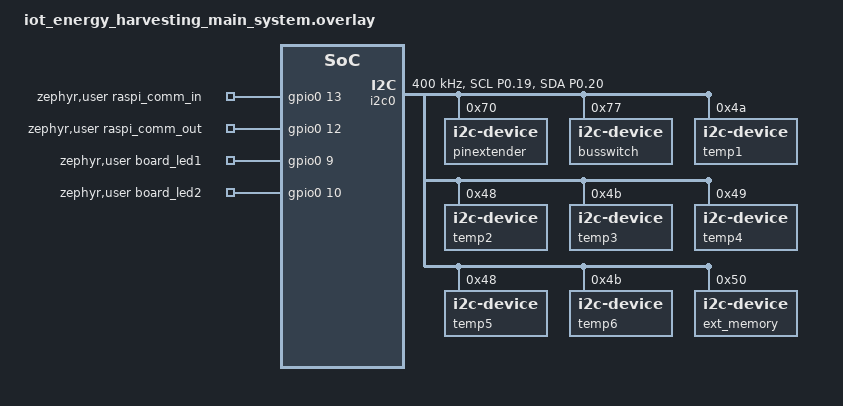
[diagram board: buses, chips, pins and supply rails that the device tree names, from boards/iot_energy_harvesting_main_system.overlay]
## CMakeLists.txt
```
cmake_minimum_required(VERSION 3.20.0)
find_package(Zephyr REQUIRED HINTS $ENV{ZEPHYR_BASE})

project(SoC)

target_sources(app PRIVATE src/main.c)

target_sources(app PRIVATE src/GPIO_extender.c)
target_sources(app PRIVATE src/I2C_Switch.c)
target_sources(app PRIVATE src/TempSensor.c)
target_sources(app PRIVATE src/accuracyAlgorithms.c)
target_sources(app PRIVATE src/memory.c)
target_sources(app PRIVATE src/timers.c)

target_include_directories(app PRIVATE src)
```

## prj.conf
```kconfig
# enable GPIO
CONFIG_GPIO=y
CONFIG_GPIO_NRFX=y

# enable I2C
CONFIG_I2C=y

# enable pin control (e.g., for I2C)
CONFIG_PINCTRL=y

# enable UART
CONFIG_SERIAL=y
CONFIG_UART_ASYNC_API=y

# RTT Console
CONFIG_RTT_CONSOLE=y
CONFIG_USE_SEGGER_RTT=y
CONFIG_PRINTK=y
CONFIG_CONSOLE=y
CONFIG_STDOUT_CONSOLE=y

CONFIG_CBPRINTF_FP_SUPPORT=y
```

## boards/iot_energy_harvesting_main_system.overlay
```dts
// To get started, press Ctrl+Space to bring up the completion menu and view the available nodes.

// You can also use the buttons in the sidebar to perform actions on nodes.
// Actions currently available include:

// * Enabling / disabling the node
// * Adding the bus to a bus
// * Removing the node
// * Connecting ADC channels

// For more help, browse the DeviceTree documentation at https://docs.zephyrproject.org/latest/guides/dts/index.html
// You can also visit the nRF DeviceTree extension documentation at https://nrfconnect.github.io/vscode-nrf-connect/devicetree/nrfdevicetree.html


&i2c0 {    
    pinextender: pinextender@70{
        compatible = "i2c-device";
        reg = < 0x70 >;
        pinextenderReset: pinextenderReset{
            compatible = "nordic,gpio-pins";
            gpios = <&gpio0  17 GPIO_ACTIVE_LOW>;
        };
        pinextender_int_pin: pinextender-int-pin{
            compatible = "nordic,gpio-pins";
            gpios = <&gpio0 18 GPIO_ACTIVE_LOW>;
        };
    };
    
    busswitch: busswitch@77{
        compatible = "i2c-device";
        reg = < 0x77 >;
        busswitchreset: busswitchreset{
            compatible = "nordic,gpio-pins";
            gpios = <&gpio0  16 GPIO_ACTIVE_LOW>;
        };
    };
    
    temp1: temp1@4a{
        compatible = "i2c-device";
        reg = < 0x4a >;
    };
    
    temp2: temp2@48{
        compatible = "i2c-device";
        reg = < 0x48 >;
    };
    
    temp3: temp3@4b{
        compatible = "i2c-device";
        reg = < 0x4b >;
    };
    
    temp4: temp4@49{
        compatible = "i2c-device";
        reg = < 0x49 >;
    };
    
    temp5: temp5@48{
        compatible = "i2c-device";
        reg = < 0x48 >;
    };
    
    temp6: temp6@4b{
        compatible = "i2c-device";
        reg = < 0x4b >;
    };
    
    ext_memory: ext_memory@50{
        compatible = "i2c-device";
        reg = <0x50>;
    };

    status = "okay";
    clock-frequency = <I2C_BITRATE_FAST>;
    easydma-maxcnt-bits = <128>;
};



&gpio0 {
    compatible = "nordic,nrf-gpio";
    status = "okay";
};



&i2c0 {
    pinctrl-0 = <&i2c0_default>;
    pinctrl-names = "default";
};

&pinctrl {
    i2c0_default: i2c0_default {
        group1 {
            psels = <NRF_PSEL(TWIM_SCL, 0, 19)>, <NRF_PSEL(TWIM_SDA, 0, 20)>;
        };
    };

    uart0_default: uart0_default {
        group1 {
            psels = <NRF_PSEL(UART_RX, 0, 13)>, <NRF_PSEL(UART_TX, 0, 12)>;
        };
    };
};



&gpiote {
    status = "okay";
};

&uart0 {
    status = "disabled";
    pinctrl-0 = <&uart0_default>;
    pinctrl-names = "default";
    current-speed = <9600>;
};


/ {
    zephyr,user {
        raspi_comm_in-gpios =   <&gpio0 13 0>;
        raspi_comm_out-gpios =  <&gpio0 12 0>;
        board_led1-gpios = <&gpio0 9 GPIO_ACTIVE_HIGH>;
        board_led2-gpios = <&gpio0 10 GPIO_ACTIVE_HIGH>;
    };

};
```

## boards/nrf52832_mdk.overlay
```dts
// To get started, press Ctrl+Space to bring up the completion menu and view the available nodes.

// You can also use the buttons in the sidebar to perform actions on nodes.
// Actions currently available include:

// * Enabling / disabling the node
// * Adding the bus to a bus
// * Removing the node
// * Connecting ADC channels

// For more help, browse the DeviceTree documentation at https://docs.zephyrproject.org/latest/guides/dts/index.html
// You can also visit the nRF DeviceTree extension documentation at https://nrfconnect.github.io/vscode-nrf-connect/devicetree/nrfdevicetree.html

&i2c0 {    
    pinextender: pinextender@70{
        compatible = "i2c-device";
        status = "okay";
        reg = < 0x70 >;
        pinextenderReset: pinextenderReset{
            compatible = "nordic,gpio-pins";
            gpios = <&gpio0  17 GPIO_ACTIVE_LOW>;
            status = "okay"; 
        };
        pinextender_int_pin: pinextender-int-pin{
            compatible = "nordic,gpio-pins";
            gpios = <&gpio0 18 GPIO_ACTIVE_LOW>;
            status = "okay";
        };
    };
    
    busswitch: busswitch@77{
        compatible = "i2c-device";
        status = "okay";
        reg = < 0x77 >;
        busswitchreset: busswitchreset{
            compatible = "nordic,gpio-pins";
            gpios = <&gpio0  16 GPIO_ACTIVE_LOW>;
            status = "okay"; 
        };
    };
    
    temp1: temp1@4a{
        compatible = "i2c-device";
        reg = < 0x4a >;
        status = "okay";
    };
    
    temp2: temp2@48{
        compatible = "i2c-device";
        reg = < 0x48 >;
        status = "okay";
    };
    
    temp3: temp3@4b{
        compatible = "i2c-device";
        reg = < 0x4b >;
        status = "okay";
    };
    
    temp4: temp4@49{
        compatible = "i2c-device";
        reg = < 0x49 >;
        status = "okay";
    };
    
    temp5: temp5@48{
        compatible = "i2c-device";
        reg = < 0x48 >;
        status = "okay";
    };
    
    temp6: temp6@4b{
        compatible = "i2c-device";
        reg = < 0x4b >;
        status = "okay";
    };
    
    ext_memory: ext_memory@50{
        compatible = "i2c-device";
        reg = < 0x50 >;
        status = "okay";
    };

    status = "okay";
    clock-frequency = <I2C_BITRATE_FAST>;
    easydma-maxcnt-bits = <128>;
};

&gpio0 {
    led1{
        compatible = "nordic,gpio-pins";
        gpios = <&gpio0 9 GPIO_ACTIVE_HIGH>;
        status = "okay";
    };
    led2{
        compatible = "nordic,gpio-pins";
        gpios = <&gpio0 10 GPIO_ACTIVE_HIGH>;
        status = "okay";
    };
};


&i2c1 {
    status = "disabled";
    clock-frequency = <I2C_BITRATE_FAST>;
};



&spi1 {
    status = "disabled";
};



&pwm0 {
    status = "disabled";
};

&adc {
    status = "disabled";
};

&i2c0_default {
    group1 {
        psels = <NRF_PSEL(TWIM_SDA, 0, 20)>, <NRF_PSEL(TWIM_SCL, 0, 19)>;
    };
};

&timer0 {
    status = "disabled";
};

&uart0 {
    current-speed = <9600>;
};

&uart0_default {
    group1 {
        psels = <NRF_PSEL(UART_TX, 0, 12)>,
                <NRF_PSEL(UART_RX, 0, 13)>,
                <NRF_PSEL(UART_RTS, 0, 5)>,
                <NRF_PSEL(UART_CTS, 0, 7)>;
    };
};

&uart0_default {
    group1 {
        psels = <NRF_PSEL(UART_TX, 0, 13)>,
                <NRF_PSEL(UART_RX, 0, 13)>,
                <NRF_PSEL(UART_RTS, 0, 5)>,
                <NRF_PSEL(UART_CTS, 0, 7)>;
    };
};

&uart0_default {
    group1 {
        psels = <NRF_PSEL(UART_TX, 0, 13)>,
                <NRF_PSEL(UART_RX, 0, 12)>,
                <NRF_PSEL(UART_RTS, 0, 5)>,
                <NRF_PSEL(UART_CTS, 0, 7)>;
    };
};
```

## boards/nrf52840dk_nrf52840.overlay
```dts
// To get started, press Ctrl+Space to bring up the completion menu and view the available nodes.

// You can also use the buttons in the sidebar to perform actions on nodes.
// Actions currently available include:

// * Enabling / disabling the node
// * Adding the bus to a bus
// * Removing the node
// * Connecting ADC channels

// For more help, browse the DeviceTree documentation at https://docs.zephyrproject.org/latest/guides/dts/index.html
// You can also visit the nRF DeviceTree extension documentation at https://nrfconnect.github.io/vscode-nrf-connect/devicetree/nrfdevicetree.html

&i2c0 {    
    pinextender: pinextender@70{
        compatible = "i2c-device";
        status = "okay";
        reg = < 0x70 >;
        pinextenderReset: pinextenderReset{
            compatible = "nordic,gpio-pins";
            gpios = <&gpio0  17 GPIO_ACTIVE_LOW>;
            status = "okay"; 
        };
        pinextender_int_pin: pinextender-int-pin{
            compatible = "nordic,gpio-pins";
            gpios = <&gpio0 18 GPIO_ACTIVE_LOW>;
            status = "okay";
        };
    };
    
    busswitch: busswitch@77{
        compatible = "i2c-device";
        status = "okay";
        reg = < 0x77 >;
        busswitchreset: busswitchreset{
            compatible = "nordic,gpio-pins";
            gpios = <&gpio0  16 GPIO_ACTIVE_LOW>;
            status = "okay"; 
        };
    };
    
    temp1: temp1@4a{
        compatible = "i2c-device";
        reg = < 0x4a >;
        status = "okay";
    };
    
    temp2: temp2@48{
        compatible = "i2c-device";
        reg = < 0x48 >;
        status = "okay";
    };
    
    temp3: temp3@4b{
        compatible = "i2c-device";
        reg = < 0x4b >;
        status = "okay";
    };
    
    temp4: temp4@49{
        compatible = "i2c-device";
        reg = < 0x49 >;
        status = "okay";
    };
    
    temp5: temp5@48{
        compatible = "i2c-device";
        reg = < 0x48 >;
        status = "okay";
    };
    
    temp6: temp6@4b{
        compatible = "i2c-device";
        reg = < 0x4b >;
        status = "okay";
    };
    
    ext_memory: ext_memory@50{
        compatible = "i2c-device";
        reg = < 0x50 >;
        status = "okay";
    };

    status = "okay";
    clock-frequency = <I2C_BITRATE_FAST>;
    easydma-maxcnt-bits = <128>;
};

&gpio0 {
    led1{
        compatible = "nordic,gpio-pins";
        gpios = <&gpio0 9 GPIO_ACTIVE_HIGH>;
        status = "okay";
    };
    led2{
        compatible = "nordic,gpio-pins";
        gpios = <&gpio0 10 GPIO_ACTIVE_HIGH>;
        status = "okay";
    };
};


&i2c1 {
    status = "disabled";
    clock-frequency = <I2C_BITRATE_FAST>;
};

&spi3 {
    status = "disabled";
};

&spi1 {
    status = "disabled";
};

&qspi {
    status = "disabled";
};

&pwm0 {
    status = "disabled";
};

&adc {
    status = "disabled";
};

&i2c0_default {
    group1 {
        psels = <NRF_PSEL(TWIM_SDA, 0, 20)>, <NRF_PSEL(TWIM_SCL, 0, 19)>;
    };
};

&timer0 {
    status = "disabled";
};
```

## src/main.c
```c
#include <zephyr/kernel.h>
#include <zephyr/device.h>
#include <zephyr/devicetree.h>
#include <zephyr/sys/printk.h>
#include <zephyr/drivers/i2c.h>
#include <zephyr/drivers/uart.h>
#include <zephyr/drivers/gpio.h>
#include <stdio.h>

#include "inc.h"

#define USERNODE DT_PATH(zephyr_user)

const struct gpio_dt_spec raspiCom_in = GPIO_DT_SPEC_GET(USERNODE, raspi_comm_in_gpios);
const struct gpio_dt_spec raspiCom_out = GPIO_DT_SPEC_GET(USERNODE, raspi_comm_out_gpios);

extern uint32_t write_address;

uint8_t gpio_portMask = 0x00;
uint8_t switch_portMask = 0x00;

static struct gpio_callback raspi_comm_cb;

static struct k_work test_start_work;
static struct k_work test_over_work;


void raspi_comm_interrupt_handler(const struct device *dev, struct gpio_callback *cb, uint32_t pins)
{
        printk("test handler called\n\r");

        printk("Input pin level: %d\n\r", gpio_pin_get_dt(&raspiCom_in));

        if (gpio_pin_get_dt(&raspiCom_in)){
                // Test started
                k_work_submit(&test_start_work);
        }


        if (!gpio_pin_get_dt(&raspiCom_in)){
                // Test ended
                // stop timers
                timer_stop_ad();
                k_work_submit(&test_over_work);
        }
        printk("\n\r");
}

static void test_start_work_handler(struct k_work *work){
        printk("Test is starting\n\r");
        // take memory back
        gpio_portMask |= 0x01;
        GPIO_setOutput(gpio_portMask);

        // clear memory pin
        gpio_pin_set_dt(&raspiCom_out, 0);

        // reset write address
        write_address = 0;

        // start timer
        // timer_init_threshold_ad();
        // timer_init_bollinger_ad();
        // timer_init_linearDis_ad();
        timer_init_onlyAccAlg();
}

static void test_over_work_handler(struct k_work *work){
        printk("Test is ending\n\r");

        // activate memory bus
        switch_portMask = 0x01;
        I2C_switch_setChannel(switch_portMask);

        // make sure you have memory
        gpio_portMask |= 0x01;
        GPIO_setOutput(gpio_portMask);

        // add last to memory
        uint8_t data[MEMORY_BLOCK_SIZE] = {0};
        memory_add(&data, MEMORY_BLOCK_SIZE);

        // disable all buses
        switch_portMask = 0x00;
        I2C_switch_setChannel(switch_portMask);

        // disable all load switches & give memory
        gpio_portMask = 0x00;
        GPIO_setOutput(gpio_portMask);

        // set memory pin
        gpio_pin_set_dt(&raspiCom_out, 1);
}

int main(void)
{

        // printk("Starting real test\n\r");

        // init devices
        GPIO_init();
        I2C_switch_init();

        // set GPIO port direction
        GPIO_setDir(GPIO_BASE_PORTDIR);

        I2C_switch_setChannel(0x00);
        GPIO_setOutput(0x00);

        // Configure GPIO pins
        gpio_pin_configure_dt(&raspiCom_in, GPIO_INPUT);
        gpio_pin_configure_dt(&raspiCom_out, GPIO_OUTPUT);

        // Initialize work with their handlers
        k_work_init(&test_start_work, test_start_work_handler);
        k_work_init(&test_over_work, test_over_work_handler);

        // attach interrupts to input pin
        gpio_pin_interrupt_configure_dt(&raspiCom_in, GPIO_INT_EDGE_BOTH);
        gpio_init_callback(&raspi_comm_cb, raspi_comm_interrupt_handler, BIT(raspiCom_in.pin)); 	
        gpio_add_callback(raspiCom_in.port, &raspi_comm_cb);

        while (1)
        {
                k_msleep(1000*10*60);
        }
        

        return 0;
}














// printk("Giving access to memory awway\n\r");
// GPIO_init();
// I2C_switch_init();
// GPIO_setDir(GPIO_BASE_PORTDIR);
// GPIO_setOutput(0x00);
// while (1)
// {
//         gpio_pin_toggle_dt(&raspiCom_out);
//         k_msleep(1000);
// }

// printk("Starting memory test\n\r");
// uint8_t uart_tx_buf[3];
// GPIO_init();
// I2C_switch_init();
// GPIO_setDir(GPIO_BASE_PORTDIR);
// GPIO_setOutput(1);
// I2C_switch_setChannel(0x01);
// uart_configure(uart0_dev, &uart_cfg);

// while (1)
// {
//         for (int j = 0; j < 100; j++)
//         {
//                 for (int i = 0; i < 256; i++)
//                 {
//                         uint8_t temp = i;
//                         uart_tx_buf[1] = temp;
//                         uart_tx_buf[0] = (uint8_t) j;
//                         uart_tx(uart0_dev, &uart_tx_buf, 2, SYS_FOREVER_US);
//                         memory_add(&temp, 1);
//                         k_msleep(1);
//                 }
//         }
// }



// uint8_t uart_tx_buf[]= "Testing UART!";
// uart_configure(uart0_dev, &uart_cfg);
// printk("Starting UART test\n\r");
// while (1)
// {
//         uart_tx(uart0_dev, uart_tx_buf, 14, SYS_FOREVER_US);
//         k_msleep(2000);
// }


// printk("Starting adaptive sampling test\n\r");
// GPIO_init();
// I2C_switch_init();
// GPIO_setDir(GPIO_BASE_PORTDIR);
// gpio_portMask = 1;
// GPIO_setOutput(gpio_portMask);
// switch_portMask = 1;
// I2C_switch_setChannel(switch_portMask);
// // timer_init_threshold_ad();
// // timer_init_bollinger_ad();
// timer_init_linearDis_ad();
// while (1)
// {
//         k_msleep(1000*60);
// }


// printk("Starting test\n\r");
// GPIO_init();
// I2C_switch_init();
// GPIO_setDir(GPIO_BASE_PORTDIR);
// I2C_switch_setChannel(0x00);

// float output[6];
// while(1){
//         temp_Measure_Read(output, AVG_1, 6);
//         printk("Data output from sensors is: %.4f, %.4f, %.4f, %.4f, %.4f, %.4f. Optimal Set accuracy improvement: %.4f\n\r", output[0], output[1], output[2], output[3], output[4], output[5], optimalSet(output, 6));
//         optimalSet(output, 4);
//         k_msleep(100);
// }
```

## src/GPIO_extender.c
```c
#include <zephyr/devicetree.h>
#include <zephyr/drivers/i2c.h>
#include <zephyr/drivers/gpio.h>

#include "GPIO_extender.h"

#define I2C0_GPIO_EXTENDER DT_NODELABEL(pinextender)
#define GPIO0_GPIO_EXTENDER DT_NODELABEL(pinextenderreset)

static const struct i2c_dt_spec i2c_dev_GPIO_ext = I2C_DT_SPEC_GET(I2C0_GPIO_EXTENDER);
static const struct gpio_dt_spec GPIO_reset = GPIO_DT_SPEC_GET(GPIO0_GPIO_EXTENDER, gpios);

void GPIO_init(void){
    // sets reset pin high TODO
    if(GPIO_reset.port){
        gpio_pin_configure_dt(&GPIO_reset, GPIO_OUTPUT_INACTIVE);
        gpio_pin_set_dt(&GPIO_reset, 0);
    }
}   

// Sets the direction of the GPIO extenders' pins to either inputs or outputs, a 1 means the pin is an input, a 0 means the pin is an output. Reset = 0xFF
void GPIO_setDir(uint8_t mask){
    uint8_t data[2] = {0x03, mask};
    while(!i2c_is_ready_dt(&i2c_dev_GPIO_ext));
    i2c_write_dt(&i2c_dev_GPIO_ext, data, 2);
}

// Sets the value of the pins with an output pin direction. Writing a value to a pin with an input pin direction does nothing. Reset = 0xFF
void GPIO_setOutput(uint8_t mask){
    uint8_t data[2] = {0x01, mask};
    while(!i2c_is_ready_dt(&i2c_dev_GPIO_ext));
    i2c_write_dt(&i2c_dev_GPIO_ext, data, 2);
}

// Reads the state of ALL pins in the extender, regardless of pin direction.
uint8_t GPIO_readInput(void){
    uint8_t data[1] = {0x00};
    while(!i2c_is_ready_dt(&i2c_dev_GPIO_ext));
    i2c_write_dt(&i2c_dev_GPIO_ext, data, 1);
    while(!i2c_is_ready_dt(&i2c_dev_GPIO_ext));
    i2c_read_dt(&i2c_dev_GPIO_ext, data, 1);
    return data[0];
}

// Sets the pins of the GPIO extender with an input pin direction to have their polarity inverted (e.g. all high inputs are read as low and vice versa). A 1 corresponds to the given pin having an inverted polarity, a 0 means no polarity inversion. Reset = 0x00
void GPIO_polarity(uint8_t mask){
    
}
```

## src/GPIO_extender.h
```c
#ifndef _GPIO_EXTENDER_H_
#define _GPIO_EXTENDER_H_

#define GPIO_BASE_PORTDIR 0x00 

void GPIO_init(void);

void GPIO_setDir(uint8_t mask);

void GPIO_setOutput(uint8_t mask);

uint8_t GPIO_readInput();

void GPIO_polarity(uint8_t mask);


#endif // _GPIO_EXTENDER_H_
```

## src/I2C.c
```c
#include "I2C.h"
#include <nrfx_twim.h>


nrfx_twim_xfer_desc_t twim_xfer_desc = NRFX_TWIM_XFER_DESC_TX(NULL,
                                                                NULL,
                                                                NULL);

nrfx_twim_t twim_inst = NRFX_TWIM_INSTANCE(TWIM_INST_IDX);
nrfx_twim_config_t twim_config = {
    .scl_pin = TWIM_SCL_PIN,
    .sda_pin = TWIM_SDA_PIN,
    .frequency = NRF_TWIM_FREQ_100K,    //  TODO test with other frequencies
    .interrupt_priority = NRFX_TWIM_DEFAULT_CONFIG_IRQ_PRIORITY,
    .hold_bus_uninit    = false
};

// Initialize I2C
void i2c_init(void){
    nrfx_err_t status;
    (void)status;

    status = nrfx_twim_init(&twim_inst, &twim_config, NULL, &twim_xfer_desc);
    nrfx_twim_enable(&twim_inst);

}

// Write data to I2C
void i2c_write(uint8_t addr, uint8_t *data, uint8_t len){
    nrfx_err_t status;
    (void)status;    
    twim_xfer_desc.address = addr;
    twim_xfer_desc.p_primary_buf = data;
    twim_xfer_desc.primary_length = len;
    twim_xfer_desc.type = NRFX_TWIM_XFER_RX;
    status = nrfx_twim_xfer(&twim_inst, &twim_xfer_desc, 0);
}

// Read data from I2C
void i2c_read(uint8_t addr, uint8_t *data, uint8_t len){
    nrfx_err_t status;
    (void)status;
    twim_xfer_desc.address = addr;
    twim_xfer_desc.p_primary_buf = data;
    twim_xfer_desc.primary_length = len;
    twim_xfer_desc.type = NRFX_TWIM_XFER_TX;
    status = nrfx_twim_xfer(&twim_inst, &twim_xfer_desc, 0);
}
```

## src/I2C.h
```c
#ifndef _I2C_CONTROL_H_
#define _I2C_CONTROL_H_

#include "macros.h"

#include <nrfx_twim.h>
#include <nrfx.h>

#define TWIM_SDA_PIN 20
#define TWIM_SCL_PIN 19

#define TWIM_INST_IDX 0

// Initialize I2C
void i2c_init(void);

// Write data to I2C
void i2c_write(uint8_t addr, uint8_t *data, uint8_t len);

// Read data from I2C
void i2c_read(uint8_t addr, uint8_t *data, uint8_t len);


#endif // !_I2C_CONTROL_H_
```

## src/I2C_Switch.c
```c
#include <zephyr/drivers/i2c.h>
#include <zephyr/drivers/gpio.h>
#include <zephyr/devicetree.h>

#include "I2C_Switch.h"

#define I2C0_I2C_SWITCH DT_NODELABEL(busswitch)
#define GPIO0_SWITCH_EXTENDER DT_NODELABEL(pinextenderreset)

static const struct i2c_dt_spec i2c_dev_bus_switch = I2C_DT_SPEC_GET(I2C0_I2C_SWITCH);
static const struct gpio_dt_spec switch_reset = GPIO_DT_SPEC_GET(GPIO0_SWITCH_EXTENDER, gpios);

void I2C_switch_init(void){
    // sets reset pin high TODO
    if(switch_reset.port){
        gpio_pin_configure_dt(&switch_reset, GPIO_OUTPUT_INACTIVE);
        gpio_pin_set_dt(&switch_reset, 0);
    }
}

// Enables/disables the I2C channels corresponding to the mask, a 1 means the channel is enabled, a 0 means the channel is disabled. Reset = 0x00
void I2C_switch_setChannel(uint8_t mask){
    uint8_t data[1] = {mask};
    while(!i2c_is_ready_dt(&i2c_dev_bus_switch));
    i2c_write_dt(&i2c_dev_bus_switch, data, 1);
}

// Reads the state of all I2C channels. 
uint8_t I2C_switch_readChannels(void){
    uint8_t data[1];
    while(!i2c_is_ready_dt(&i2c_dev_bus_switch)); 
    i2c_read_dt(&i2c_dev_bus_switch, data, 1);
    return data[0];
}
```

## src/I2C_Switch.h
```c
#ifndef _I2C_SWTICH_H_
#define _I2C_SWTICH_H_

#include "macros.h"
#include "I2C.h"

#define I2C_SWITCH_BASE_ADDR 0xEE

void I2C_switch_setChannel(uint8_t mask);

uint8_t I2C_switch_readChannels(void);


#endif // !_I2C_SWTICH_H_
```

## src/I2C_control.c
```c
// #include "I2C_control.h"
// #include <zephyr/drivers/i2c.h>

// #define I2C0_GPIO_EXTENDER DT_NODELABEL(GPIO_extender)
// #define I2C0_I2C_SWITCH DT_NODELABEL(I2C_switch)
// #define I2C0_TEMP1 DT_NODELABEL(temp1)
// #define I2C0_TEMP2 DT_NODELABEL(temp2)
// #define I2C0_TEMP3 DT_NODELABEL(temp3)
// #define I2C0_TEMP4 DT_NODELABEL(temp4)
// #define I2C0_TEMP5 DT_NODELABEL(temp5) 
// #define I2C0_TEMP6 DT_NODELABEL(temp6)

// static const struct i2c_dt_spec dev_i2c = I2C_DT_SPEC_GET(I2C0_TEMP6);


// // Initialize I2C
// void i2c_init(void){

// }

// // Write data to I2C
// void i2c_write(uint8_t addr, uint8_t *data, uint8_t len){

// }

// // Read data from I2C
// void i2c_read(uint8_t addr, uint8_t *data, uint8_t len){

// }
```

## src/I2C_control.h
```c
// #ifndef _I2C_CONTROL_H_
// #define _I2C_CONTROL_H_

// #include "macros.h"


// // Initialize I2C
// void i2c_init(void);

// // Write data to I2C
// void i2c_write(uint8_t addr, uint8_t *data, uint8_t len);

// // Read data from I2C
// void i2c_read(uint8_t addr, uint8_t *data, uint8_t len);


// #endif // !_I2C_CONTROL_H_
```

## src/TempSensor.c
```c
#include <zephyr/devicetree.h>
#include <zephyr/drivers/i2c.h>
#include <zephyr/drivers/gpio.h>
#include <zephyr/logging/log.h>

#include "TempSensor.h"
#include "GPIO_extender.h"
#include "I2C_Switch.h"

#define I2C0_TEMP1 DT_NODELABEL(temp1)
#define I2C0_TEMP2 DT_NODELABEL(temp2)
#define I2C0_TEMP3 DT_NODELABEL(temp3)
#define I2C0_TEMP4 DT_NODELABEL(temp4)
#define I2C0_TEMP5 DT_NODELABEL(temp5)
#define I2C0_TEMP6 DT_NODELABEL(temp6)

static const struct i2c_dt_spec i2c_dev_temp1 = I2C_DT_SPEC_GET(I2C0_TEMP1);
static const struct i2c_dt_spec i2c_dev_temp2 = I2C_DT_SPEC_GET(I2C0_TEMP2);
static const struct i2c_dt_spec i2c_dev_temp3 = I2C_DT_SPEC_GET(I2C0_TEMP3);
static const struct i2c_dt_spec i2c_dev_temp4 = I2C_DT_SPEC_GET(I2C0_TEMP4);
static const struct i2c_dt_spec i2c_dev_temp5 = I2C_DT_SPEC_GET(I2C0_TEMP5);
static const struct i2c_dt_spec i2c_dev_temp6 = I2C_DT_SPEC_GET(I2C0_TEMP6);

LOG_MODULE_REGISTER(Temp_sensors,LOG_LEVEL_DBG);

extern uint8_t gpio_portMask;
extern uint8_t switch_portMask;

// Initiate one-shot conversion with the given averages of the device with the given address
void temp_sensor_oneShot(struct i2c_dt_spec dev, enum averaging averages){
    uint8_t configH = (0b11<<2);
    uint8_t configL = (averages<<5);
    uint8_t data[3] = {0x01, configH, configL};
    while(!i2c_is_ready_dt(&dev)); 
    i2c_write_dt(&dev, data, 3);
}

float temp_sensor_getTemp(struct i2c_dt_spec dev){
    // Read from config register, then check if the data ready bit is set
    uint8_t data[2], attempts = 0;
    data[0] = 0x01;
    while(!i2c_is_ready_dt(&dev)); 
    i2c_write_read_dt(&dev, data, 1, data, 2);
    while(!(data[0] & (1<<5))){
        k_msleep(8);
        data[0] = 0x01;
        while(!i2c_is_ready_dt(&dev)); 
        i2c_write_read_dt(&dev, data, 1, data, 2);
        attempts++;
        // if it's not, re-read the register and re-check the data-ready bit given its fewer than a given no. of attempts.
        if (attempts > 30){
            return -255.0;
        }
    }

    // if it is set, write the address pointer of the temp value
    data[0] = 0x00;
    while(!i2c_is_ready_dt(&dev)); 
    i2c_write_read_dt(&dev, data, 1, data, 2);
    uint16_t temp = data[0]<<8|data[1];

    int16_t sign = (temp & 0x8000) ? -1 : 1;
    int16_t whole = (temp & 0x7F80) >> 7;
    int16_t fraction = temp & 0x007F;

    // Convert to float and return
    return sign * (whole + (fraction / 128.0));
}

void temp_Measure_Read(float *output, enum averaging avgs, uint8_t numSensors){
    switch (numSensors)
    {
    case 1:
        // disable all temp I2C buses
        switch_portMask = switch_portMask & 0b11110001;
        I2C_switch_setChannel(switch_portMask);

        // enable only power group for first temp sensor group
        gpio_portMask = (gpio_portMask & 0b11110001)|(1<<1);
        GPIO_setOutput(gpio_portMask);

        // enable only i2c bus for first temp sensor group 
        switch_portMask |= 1<<1;
        I2C_switch_setChannel(switch_portMask);
        k_msleep(2);

        // take single measurement
        temp_sensor_oneShot(i2c_dev_temp1, avgs);
        
        // read data from measurement
        output[0] = temp_sensor_getTemp(i2c_dev_temp1);
        break;
    
    case 2:
        // disable all temp I2C buses
        switch_portMask = switch_portMask & 0b11110001;
        I2C_switch_setChannel(switch_portMask);

        // enable only power group for first temp sensor group
        gpio_portMask = (gpio_portMask & 0b11110001)|(1<<2);
        GPIO_setOutput(gpio_portMask);

        // enable only i2c bus for first temp sensor group 
        switch_portMask |= 1<<2;
        I2C_switch_setChannel(switch_portMask);
        k_msleep(2);

        // take single measurement
        temp_sensor_oneShot(i2c_dev_temp2, avgs);
        temp_sensor_oneShot(i2c_dev_temp3, avgs);
        
        // read data from measurement
        output[0] = temp_sensor_getTemp(i2c_dev_temp2);
        output[1] = temp_sensor_getTemp(i2c_dev_temp3);
        break;
    
    case 3:
        // disable all temp I2C buses
        switch_portMask = switch_portMask & 0b11110001;
        I2C_switch_setChannel(switch_portMask);

        // enable only power group for first temp sensor group
        gpio_portMask = (gpio_portMask & 0b11110001)|(1<<3);
        GPIO_setOutput(gpio_portMask);

        // enable only i2c bus for first temp sensor group 
        switch_portMask |= 1<<3;
        I2C_switch_setChannel(switch_portMask);
        k_msleep(2);

        // take single measurement
        temp_sensor_oneShot(i2c_dev_temp4, avgs);
        temp_sensor_oneShot(i2c_dev_temp5, avgs);
        temp_sensor_oneShot(i2c_dev_temp6, avgs);
        
        // read data from measurement
        output[0] = temp_sensor_getTemp(i2c_dev_temp4);
        output[1] = temp_sensor_getTemp(i2c_dev_temp5);
        output[2] = temp_sensor_getTemp(i2c_dev_temp6);
        break;
    
    case 4:
        // disable all temp I2C buses
        switch_portMask = switch_portMask & 0b11110001;
        I2C_switch_setChannel(switch_portMask);

        // enable only power group for first temp sensor group
        gpio_portMask = (gpio_portMask & 0b11110001)|(1<<1)|(1<<3);
        GPIO_setOutput(gpio_portMask);

        // enable only i2c bus for first temp sensor group 
        switch_portMask |= (1<<1)|(1<<3);
        I2C_switch_setChannel(switch_portMask);
        k_msleep(2);

        // take single measurement
        temp_sensor_oneShot(i2c_dev_temp1, avgs);
        temp_sensor_oneShot(i2c_dev_temp4, avgs);
        temp_sensor_oneShot(i2c_dev_temp5, avgs);
        temp_sensor_oneShot(i2c_dev_temp6, avgs);
        
        // read data from measurement
        output[0] = temp_sensor_getTemp(i2c_dev_temp1);
        output[1] = temp_sensor_getTemp(i2c_dev_temp4);
        output[2] = temp_sensor_getTemp(i2c_dev_temp5);
        output[3] = temp_sensor_getTemp(i2c_dev_temp6);
        break;
    
    case 5:
        // disable all temp I2C buses
        switch_portMask = switch_portMask & 0b11110001;
        I2C_switch_setChannel(switch_portMask);

        // enable only power group for first temp sensor group
        gpio_portMask = (gpio_portMask & 0b11110001)|(1<<2);
        GPIO_setOutput(gpio_portMask);

        // enable only i2c bus for first temp sensor group 
        switch_portMask |= 1<<2;
        I2C_switch_setChannel(switch_portMask);
        k_msleep(2);

        // take single measurement
        temp_sensor_oneShot(i2c_dev_temp2, avgs);
        temp_sensor_oneShot(i2c_dev_temp3, avgs);
        
        // read data from measurement
        output[0] = temp_sensor_getTemp(i2c_dev_temp2);
        output[1] = temp_sensor_getTemp(i2c_dev_temp3);
        printf("2: %.4f, 3: %.4f\n\r", output[0], output[1]);

        // disable all temp I2C buses
        switch_portMask = switch_portMask & 0b11110001;
        I2C_switch_setChannel(switch_portMask);

        // enable only power group for first temp sensor group
        gpio_portMask = (gpio_portMask & 0b11110001)|(1<<3);
        GPIO_setOutput(gpio_portMask);

        // enable only i2c bus for first temp sensor group 
        switch_portMask |= 1<<3;
        I2C_switch_setChannel(switch_portMask);
        k_msleep(2);

        // take single measurement
        temp_sensor_oneShot(i2c_dev_temp4, avgs);
        temp_sensor_oneShot(i2c_dev_temp5, avgs);
        temp_sensor_oneShot(i2c_dev_temp6, avgs);
        
        // read data from measurement
        output[2] = temp_sensor_getTemp(i2c_dev_temp4);
        output[3] = temp_sensor_getTemp(i2c_dev_temp5);
        output[4] = temp_sensor_getTemp(i2c_dev_temp6);
        break;

    case 6:
        // disable all temp I2C buses
        switch_portMask = switch_portMask & 0b11110001;
        I2C_switch_setChannel(switch_portMask);

        // enable only power group for first temp sensor group
        gpio_portMask = (gpio_portMask & 0b11110001)|(1<<2)|(1<<1);
        GPIO_setOutput(gpio_portMask);

        // enable only i2c bus for first temp sensor group 
        switch_portMask |= (1<<2)|(1<<1);
        I2C_switch_setChannel(switch_portMask);
        k_msleep(2);

        // take single measurement
        temp_sensor_oneShot(i2c_dev_temp1, avgs);
        temp_sensor_oneShot(i2c_dev_temp2, avgs);
        temp_sensor_oneShot(i2c_dev_temp3, avgs);
        
        // read data from measurement
        output[0] = temp_sensor_getTemp(i2c_dev_temp1);
        output[1] = temp_sensor_getTemp(i2c_dev_temp2);
        output[2] = temp_sensor_getTemp(i2c_dev_temp3);

        // disable all temp I2C buses
        switch_portMask = switch_portMask & 0b11110001;
        I2C_switch_setChannel(switch_portMask);

        // enable only power group for first temp sensor group
        gpio_portMask = (gpio_portMask & 0b11110001)|(1<<3);
        GPIO_setOutput(gpio_portMask);

        // enable only i2c bus for first temp sensor group 
        switch_portMask |= 1<<3;
        I2C_switch_setChannel(switch_portMask);
        k_msleep(2);

        // take single measurement
        temp_sensor_oneShot(i2c_dev_temp4, avgs);
        temp_sensor_oneShot(i2c_dev_temp5, avgs);
        temp_sensor_oneShot(i2c_dev_temp6, avgs);
        
        // read data from measurement
        output[3] = temp_sensor_getTemp(i2c_dev_temp4);
        output[4] = temp_sensor_getTemp(i2c_dev_temp5);
        output[5] = temp_sensor_getTemp(i2c_dev_temp6);
        break;

    default:
        break;
    }
}
```

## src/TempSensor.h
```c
#ifndef _TEMPSENSOR_H_
#define _TEMPSENSOR_H_

#include "I2C.h"
#include "macros.h"

// base address of all the sensors regardless of address pin. Sensors in SoC are grouped as: {0x92}, {0x90, 0x96}, {0x90, 0x92, 0x96}
#define TEMP_SENSOR_BASE_ADDR0x90

// defines the number of samples averaged before the sensor gives the result.
// Delays:
// AVG_1  = 15.5ms
// AVG_8  = 125ms
// AVG_32 = 500ms
// AVG_64 = 1s
enum averaging {AVG_1 = 0b00, AVG_8 = 0b01, AVG_32 = 0b10, AVG_64 = 0b11};

void temp_sensor_oneShot(uint8_t addr, enum averaging averages);

float temp_sensor_getTemp(uint8_t addr);


#endif // !_TEMPSENSOR_H_
```

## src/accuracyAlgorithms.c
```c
#include "accuracyAlgorithms.h"

// Optimal set algorithm for improving accuracy of the measurements, 
// data is a pointer to the array of data
// noSensors is the number of sensors used, number between 1 and 6
// noSamples is the number of samples from each samples, but for this only the first elements are taken
float optimalSet(float *data, uint8_t noSensors, uint16_t noSamples){
    uint16_t n = noSensors, m = 0;
    float meanElementDistances[MAX_SENSORS], setMean = 0;
    float psi[MAX_SENSORS], C[MAX_SENSORS][MAX_SENSORS], mu[MAX_SENSORS], tau[MAX_SENSORS], omega[MAX_SENSORS], w[MAX_SENSORS];
    float estimate;

    // TODO FIX DIVISIONS BY 0

    // For each of the sensors' datapoints, calculate the mean distance between THAT sensor and every other's
    for (int i = 0; i < n; i++)
    {
        meanElementDistances[i] = 0;
        for (int j = 0; j < n; j++)
        {
            meanElementDistances[i] += fabs(*(data + j) - *(data + i));
        }
        meanElementDistances[i] = meanElementDistances[i]/n;
    }

    // Find the mean of the mean distances, or the set's mean distances
    for (int i = 0; i < n; i++)
    {
        setMean += meanElementDistances[i];
    }
    setMean = setMean/n;

    // For every item in meanElementDistances, add it to the array psi if it's mean distance to every other datapoint is LESS than the mean of means, or the set's mean (setMean)
    uint8_t psiIndex = 0;
    for (int i = 0; i < n; i++)
    {
        if (meanElementDistances[i] < setMean){     // TODO double-check if its < or <=
            psi[psiIndex] = *(data + i);
            psiIndex++;
        }
    }
    m = psiIndex;

    // Populate the 6x6 array C with the "fusion degree" of two different sensor values from psi. The fusion degree is an exponential value which maps the difference between any two data points in psi on an exponential curve between 1 and 0. Due to the nature of this algorithm, C will likely never be fully populated
    for (int i = 0; i < m; i++)
    {
        for (int j = 0; j < m; j++)
        {
            C[i][j] = exp( (-1/2) * fabs(psi[i] - psi[j]));
        }
    }
    
    // Populate the array mu with the average fusion degree of one sensor from the optimal set. This gives a value of "how fused" the sensor's measurement is compared to the others
    for (int i = 0; i < m; i++)
    {
        for (int j = 0; j < m; j++)
        {
            mu[i] += C[i][j];
        }
        mu[i] = mu[i]/m;        
    }

    // Populate the array tau with the distribution equilibrium degree of the sensor. the distribution equilibrium degree is a value showing how "stable" the fusion degree is relative to the sensors it compares to. This is a calculation similar to the standard deviation of the set, here showing a sensor's fusion degree standard deviation. This is raised to the power of -1 to make it a value betwee 0 and 1
    float sum;
    for (int i = 0; i < m; i++)
    {
        sum = 0;
        for (int j = 0; j < m; j++)
        {
            sum += pow(mu[i] - C[i][j], 2);
        }
        sum = sum/m;
        tau[i] = 1/sum;
        
    }
    
    // The array omega is the sum of mu and tau, giving the weight coefficient of each sensor, and how how weight the sensor's reading has on the final value
    for (int i = 0; i < m; i++)
    {
        omega[i] = tau[i] + mu[i];
    }
    
    // the values in omega are normalized by dividing each element in the array omega by the sum of the array omega. This normalized value is put into an array w
    sum = 0;
    for (int i = 0; i < m; i++)
    {
        sum += omega[i];
    }
    for (int i = 0; i < m; i++)
    {
        w[i] = omega[i]/sum;
    }
    
    // Finally, an estimate is calculated by multiplying each optimal set sensor in psi with their weight coefficients found in w
    estimate = 0;
    for (int i = 0; i < m; i++)
    {
        estimate += w[i]*psi[i];
    }

    return estimate;
}


// Simple average calculation of all samples and all sensors. noSensors and noSamples MUST be witin the bounds of the data array to avoid segmentation faults.
// data is a pointer to the array of data. !! This array is always 6xN !!
// noSensors is the number of sensors used, number between 1 and 6
// noSamples is the number of samples from each samples
float average(float *data, uint8_t noSensors, uint16_t noSamples){
    if(noSensors > 6  || noSensors < 1){
        return 0;
    }

    float sum = 0;
    for (int i = 0; i < noSensors; i++)
    {
        for (int j = 0; j < noSamples; j++)
        {
            sum += *(data + i + j * MAX_SENSORS);
        }
    }
    
    return sum / (noSensors * noSamples);
}
```

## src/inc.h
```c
#ifndef _INC_H_
#define _INC_H_

#include "accuracyAlgorithms.h"
#include "GPIO_extender.h"
#include "I2C_Switch.h"
#include "I2C.h"
// #include "macros.h"
#include "memory.h"
#include "TempSensor.h"
#include "timers.h"

#include <core_cm4.h>

#endif // !_INC_H
```
